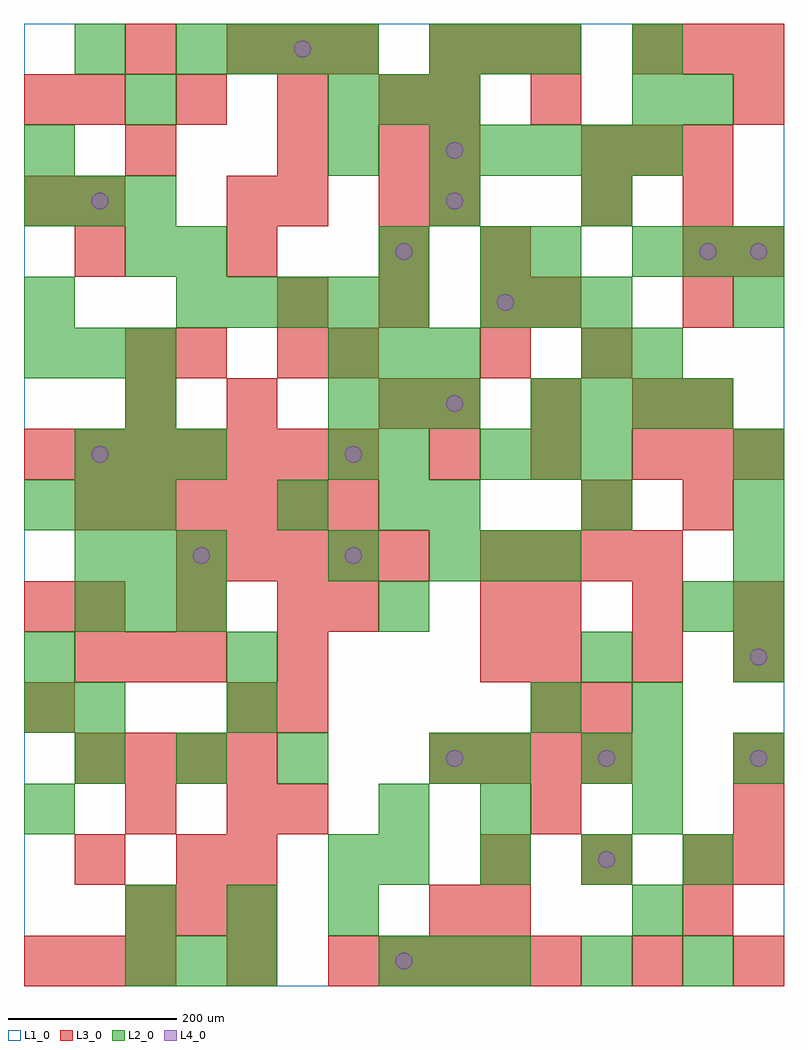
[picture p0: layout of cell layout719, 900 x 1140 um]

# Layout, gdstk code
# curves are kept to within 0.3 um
import gdstk
lib = gdstk.Library(unit=1e-6, precision=1e-09)
def R(c, l, rs):  # rectangles x0, y0, x1, y1
    for r in rs: c.add(gdstk.rectangle(r[:2], r[2:], *l))
def A(c, l, x, y, w, h, nx, ny, dx, dy):  # array of equal rectangles
    R(c, l, [(x+i*dx, y+j*dy, x+i*dx+w, y+j*dy+h) for i in range(nx) for j in range(ny)])
def P(c, l, *ps):  # polygons
    for p in ps: c.add(gdstk.Polygon(p, *l))
L1_0 = (1, 0)
L2_0 = (2, 0)
L3_0 = (3, 0)
L4_0 = (4, 0)

layout719 = lib.new_cell('layout719')
R(layout719, L1_0, [(0,0,900,1140)])
A(layout719, L2_0, 120, 0, 60, 60, 3, 1, 60, 0)
A(layout719, L2_0, 420, 0, 60, 60, 3, 1, 60, 0)
A(layout719, L2_0, 120, 60, 60, 60, 3, 1, 120, 0)
A(layout719, L2_0, 420, 120, 60, 60, 4, 1, 120, 0)
A(layout719, L2_0, 720, 180, 60, 60, 1, 3, 0, 60)
A(layout719, L2_0, 60, 240, 60, 60, 3, 1, 120, 0)
A(layout719, L2_0, 840, 360, 60, 60, 1, 3, 0, 60)
A(layout719, L2_0, 60, 420, 60, 60, 3, 2, 60, 60)
A(layout719, L2_0, 480, 480, 60, 60, 3, 2, 60, 600)
A(layout719, L2_0, 0, 540, 60, 60, 3, 3, 60, 180)
A(layout719, L2_0, 480, 540, 60, 60, 3, 1, 180, 0)
A(layout719, L2_0, 60, 600, 60, 60, 3, 1, 60, 0)
A(layout719, L2_0, 540, 600, 60, 60, 3, 2, 60, 180)
A(layout719, L2_0, 120, 660, 60, 60, 1, 3, 0, 180)
A(layout719, L2_0, 360, 660, 60, 60, 3, 2, 60, 60)
A(layout719, L2_0, 600, 660, 60, 60, 4, 1, 60, 0)
A(layout719, L2_0, 180, 780, 60, 60, 5, 1, 60, 0)
A(layout719, L2_0, 720, 840, 60, 60, 3, 1, 60, 0)
A(layout719, L2_0, 480, 960, 60, 60, 5, 1, 60, 0)
A(layout719, L2_0, 360, 1020, 60, 60, 3, 1, 60, 0)
A(layout719, L2_0, 180, 1080, 60, 60, 4, 1, 60, 0)
R(layout719, L2_0, [(660,0,720,60), (780,0,840,60), (720,60,780,120), (360,120,420,180), (0,180,60,240), (420,180,480,240), (540,180,600,240), (480,240,540,300), (540,240,600,300), (660,240,720,300), (840,240,900,300), (0,300,60,360), (60,300,120,360), (240,300,300,360), (600,300,660,360), (0,360,60,420), (240,360,300,420), (660,360,720,420), (420,420,480,480), (780,420,840,480), (360,480,420,540), (300,540,360,600), (420,540,480,600), (360,600,420,660), (420,600,480,660), (840,600,900,660), (660,720,720,780), (720,720,780,780), (0,780,60,840), (840,780,900,840), (180,840,240,900), (420,840,480,900), (540,840,600,900), (600,840,660,900), (480,900,540,960), (660,900,720,960), (0,960,60,1020), (360,960,420,1020), (720,1020,780,1080), (780,1020,840,1080), (60,1080,120,1140), (720,1080,780,1140)])
A(layout719, L3_0, 0, 0, 60, 60, 3, 1, 60, 0)
A(layout719, L3_0, 360, 0, 60, 60, 5, 1, 60, 0)
A(layout719, L3_0, 120, 60, 60, 60, 3, 1, 60, 0)
A(layout719, L3_0, 540, 120, 60, 60, 3, 1, 120, 0)
A(layout719, L3_0, 840, 120, 60, 60, 1, 3, 0, 60)
A(layout719, L3_0, 60, 240, 60, 60, 4, 1, 60, 0)
A(layout719, L3_0, 480, 240, 60, 60, 4, 1, 60, 0)
A(layout719, L3_0, 60, 360, 60, 60, 3, 1, 60, 0)
A(layout719, L3_0, 600, 360, 60, 60, 3, 2, 120, 60)
A(layout719, L3_0, 60, 420, 60, 60, 3, 1, 120, 0)
A(layout719, L3_0, 180, 480, 60, 60, 5, 1, 60, 0)
A(layout719, L3_0, 540, 480, 60, 60, 4, 1, 60, 0)
A(layout719, L3_0, 60, 540, 60, 60, 6, 1, 60, 0)
A(layout719, L3_0, 660, 540, 60, 60, 1, 3, 0, 180)
A(layout719, L3_0, 780, 540, 60, 60, 1, 3, 0, 60)
A(layout719, L3_0, 0, 600, 60, 60, 7, 1, 60, 0)
A(layout719, L3_0, 480, 600, 60, 60, 3, 2, 120, 60)
A(layout719, L3_0, 300, 780, 60, 60, 3, 1, 120, 0)
A(layout719, L3_0, 780, 780, 60, 60, 1, 3, 0, 60)
A(layout719, L3_0, 60, 840, 60, 60, 3, 1, 180, 0)
A(layout719, L3_0, 480, 900, 60, 60, 1, 3, 0, 60)
A(layout719, L3_0, 660, 960, 60, 60, 3, 1, 60, 0)
A(layout719, L3_0, 60, 1020, 60, 60, 4, 1, 120, 0)
A(layout719, L3_0, 240, 1080, 60, 60, 3, 1, 60, 0)
A(layout719, L3_0, 480, 1080, 60, 60, 3, 1, 60, 0)
A(layout719, L3_0, 720, 1080, 60, 60, 3, 1, 60, 0)
R(layout719, L3_0, [(240,0,300,60), (720,0,780,60), (840,0,900,60), (480,60,540,120), (540,60,600,120), (780,60,840,120), (60,120,120,180), (180,120,240,180), (240,120,300,180), (120,180,180,240), (240,180,300,240), (300,180,360,240), (600,180,660,240), (0,300,60,360), (240,300,300,360), (300,300,360,360), (600,300,660,360), (660,300,720,360), (300,360,360,420), (540,360,600,420), (0,420,60,480), (360,420,420,480), (540,420,600,480), (840,600,900,660), (120,660,180,720), (240,660,300,720), (420,660,480,720), (120,720,180,780), (180,720,240,780), (300,720,360,780), (360,720,420,780), (540,720,600,780), (600,780,660,840), (540,840,600,900), (840,840,900,900), (0,900,60,960), (60,900,120,960), (240,900,300,960), (300,900,360,960), (420,900,480,960), (120,960,180,1020), (300,960,360,1020), (420,960,480,1020), (0,1020,60,1080), (600,1020,660,1080), (840,1020,900,1080), (120,1080,180,1140)])
P(layout719, L4_0, [(100,630),(99.239,633.827),(97.071,637.071),(93.827,639.239),(90,640),(86.173,639.239),(82.929,637.071),(80.761,633.827),(80,630),(80.761,626.173),(82.929,622.929),(86.173,620.761),(90,620),(93.827,620.761),(97.071,622.929),(99.239,626.173)],
  [(100,930),(99.239,933.827),(97.071,937.071),(93.827,939.239),(90,940),(86.173,939.239),(82.929,937.071),(80.761,933.827),(80,930),(80.761,926.173),(82.929,922.929),(86.173,920.761),(90,920),(93.827,920.761),(97.071,922.929),(99.239,926.173)],
  [(220,510),(219.239,513.827),(217.071,517.071),(213.827,519.239),(210,520),(206.173,519.239),(202.929,517.071),(200.761,513.827),(200,510),(200.761,506.173),(202.929,502.929),(206.173,500.761),(210,500),(213.827,500.761),(217.071,502.929),(219.239,506.173)],
  [(340,1110),(339.239,1113.827),(337.071,1117.071),(333.827,1119.239),(330,1120),(326.173,1119.239),(322.929,1117.071),(320.761,1113.827),(320,1110),(320.761,1106.173),(322.929,1102.929),(326.173,1100.761),(330,1100),(333.827,1100.761),(337.071,1102.929),(339.239,1106.173)],
  [(400,510),(399.239,513.827),(397.071,517.071),(393.827,519.239),(390,520),(386.173,519.239),(382.929,517.071),(380.761,513.827),(380,510),(380.761,506.173),(382.929,502.929),(386.173,500.761),(390,500),(393.827,500.761),(397.071,502.929),(399.239,506.173)],
  [(400,630),(399.239,633.827),(397.071,637.071),(393.827,639.239),(390,640),(386.173,639.239),(382.929,637.071),(380.761,633.827),(380,630),(380.761,626.173),(382.929,622.929),(386.173,620.761),(390,620),(393.827,620.761),(397.071,622.929),(399.239,626.173)],
  [(460,30),(459.239,33.827),(457.071,37.071),(453.827,39.239),(450,40),(446.173,39.239),(442.929,37.071),(440.761,33.827),(440,30),(440.761,26.173),(442.929,22.929),(446.173,20.761),(450,20),(453.827,20.761),(457.071,22.929),(459.239,26.173)],
  [(460,870),(459.239,873.827),(457.071,877.071),(453.827,879.239),(450,880),(446.173,879.239),(442.929,877.071),(440.761,873.827),(440,870),(440.761,866.173),(442.929,862.929),(446.173,860.761),(450,860),(453.827,860.761),(457.071,862.929),(459.239,866.173)],
  [(520,270),(519.239,273.827),(517.071,277.071),(513.827,279.239),(510,280),(506.173,279.239),(502.929,277.071),(500.761,273.827),(500,270),(500.761,266.173),(502.929,262.929),(506.173,260.761),(510,260),(513.827,260.761),(517.071,262.929),(519.239,266.173)],
  [(520,690),(519.239,693.827),(517.071,697.071),(513.827,699.239),(510,700),(506.173,699.239),(502.929,697.071),(500.761,693.827),(500,690),(500.761,686.173),(502.929,682.929),(506.173,680.761),(510,680),(513.827,680.761),(517.071,682.929),(519.239,686.173)],
  [(520,930),(519.239,933.827),(517.071,937.071),(513.827,939.239),(510,940),(506.173,939.239),(502.929,937.071),(500.761,933.827),(500,930),(500.761,926.173),(502.929,922.929),(506.173,920.761),(510,920),(513.827,920.761),(517.071,922.929),(519.239,926.173)],
  [(520,990),(519.239,993.827),(517.071,997.071),(513.827,999.239),(510,1000),(506.173,999.239),(502.929,997.071),(500.761,993.827),(500,990),(500.761,986.173),(502.929,982.929),(506.173,980.761),(510,980),(513.827,980.761),(517.071,982.929),(519.239,986.173)],
  [(580,810),(579.239,813.827),(577.071,817.071),(573.827,819.239),(570,820),(566.173,819.239),(562.929,817.071),(560.761,813.827),(560,810),(560.761,806.173),(562.929,802.929),(566.173,800.761),(570,800),(573.827,800.761),(577.071,802.929),(579.239,806.173)],
  [(700,150),(699.239,153.827),(697.071,157.071),(693.827,159.239),(690,160),(686.173,159.239),(682.929,157.071),(680.761,153.827),(680,150),(680.761,146.173),(682.929,142.929),(686.173,140.761),(690,140),(693.827,140.761),(697.071,142.929),(699.239,146.173)],
  [(700,270),(699.239,273.827),(697.071,277.071),(693.827,279.239),(690,280),(686.173,279.239),(682.929,277.071),(680.761,273.827),(680,270),(680.761,266.173),(682.929,262.929),(686.173,260.761),(690,260),(693.827,260.761),(697.071,262.929),(699.239,266.173)],
  [(820,870),(819.239,873.827),(817.071,877.071),(813.827,879.239),(810,880),(806.173,879.239),(802.929,877.071),(800.761,873.827),(800,870),(800.761,866.173),(802.929,862.929),(806.173,860.761),(810,860),(813.827,860.761),(817.071,862.929),(819.239,866.173)],
  [(880,270),(879.239,273.827),(877.071,277.071),(873.827,279.239),(870,280),(866.173,279.239),(862.929,277.071),(860.761,273.827),(860,270),(860.761,266.173),(862.929,262.929),(866.173,260.761),(870,260),(873.827,260.761),(877.071,262.929),(879.239,266.173)],
  [(880,390),(879.239,393.827),(877.071,397.071),(873.827,399.239),(870,400),(866.173,399.239),(862.929,397.071),(860.761,393.827),(860,390),(860.761,386.173),(862.929,382.929),(866.173,380.761),(870,380),(873.827,380.761),(877.071,382.929),(879.239,386.173)],
  [(880,870),(879.239,873.827),(877.071,877.071),(873.827,879.239),(870,880),(866.173,879.239),(862.929,877.071),(860.761,873.827),(860,870),(860.761,866.173),(862.929,862.929),(866.173,860.761),(870,860),(873.827,860.761),(877.071,862.929),(879.239,866.173)])

lib.write_gds('layout719.gds')
